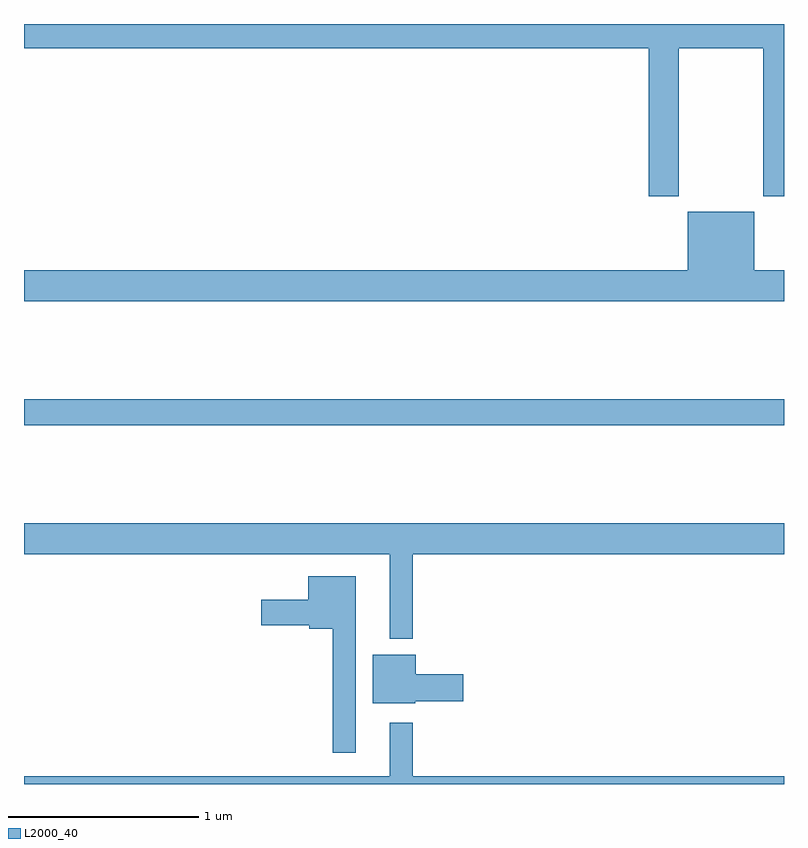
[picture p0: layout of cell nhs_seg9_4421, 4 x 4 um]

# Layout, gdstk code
import gdstk
lib = gdstk.Library(unit=1e-6, precision=1e-09)
def R(c, l, rs):  # rectangles x0, y0, x1, y1
    for r in rs: c.add(gdstk.rectangle(r[:2], r[2:], *l))
def P(c, l, *ps):  # polygons
    for p in ps: c.add(gdstk.Polygon(p, *l))
L2000_40 = (2000, 40)

nhs_seg9_4421 = lib.new_cell('nhs_seg9_4421')
R(nhs_seg9_4421, L2000_40, [(363,1242.388,367,1242.524)])
P(nhs_seg9_4421, L2000_40, [(366.447,1244.372),(366.892,1244.372),(366.892,1243.593),(367,1243.593),(367,1244.5),(363,1244.5),(363,1244.372),(366.287,1244.372),(366.287,1243.593),(366.447,1243.593)],
  [(367,1243.204),(366.844,1243.204),(366.844,1243.513),(366.494,1243.513),(366.494,1243.204),(363,1243.204),(363,1243.04),(367,1243.04)],
  [(365.047,1241.708),(367,1241.708),(367,1241.872),(363,1241.872),(363,1241.708),(364.925,1241.708),(364.925,1241.264),(365.047,1241.264)],
  [(364.747,1241.593),(364.496,1241.593),(364.496,1241.47),(364.248,1241.47),(364.248,1241.336),(364.5,1241.336),(364.5,1241.318),(364.626,1241.318),(364.626,1240.665),(364.747,1240.665)],
  [(365.058,1240.936),(365.311,1240.936),(365.311,1241.078),(365.062,1241.078),(365.062,1241.179),(364.835,1241.179),(364.835,1240.925),(365.058,1240.925)],
  [(367,1240.54),(365.047,1240.54),(365.047,1240.822),(364.925,1240.822),(364.925,1240.54),(363,1240.54),(363,1240.5),(367,1240.5)])

lib.write_gds('nhs_seg9_4421.gds')
